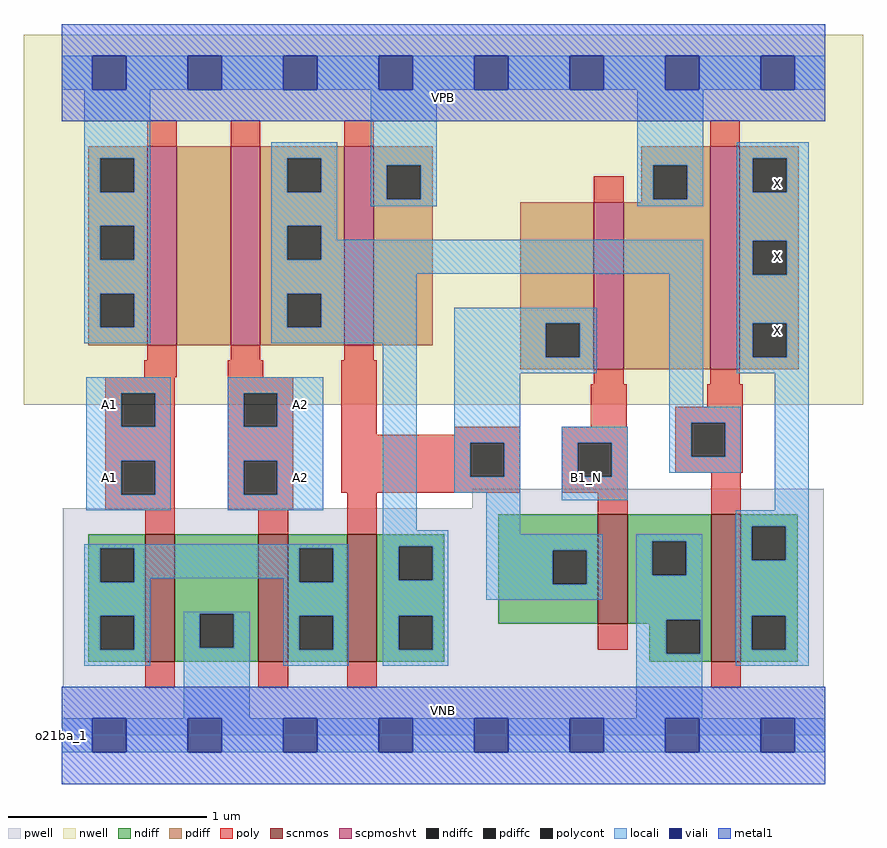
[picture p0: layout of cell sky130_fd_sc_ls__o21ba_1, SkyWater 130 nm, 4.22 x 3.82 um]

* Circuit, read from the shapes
.subckt sky130_fd_sc_ls__o21ba_1 A1 A2 B1_N VGND VNB VPB VPWR X
XM1 VGND A1 n1 VNB sky130_fd_pr__nfet_01v8 w=0.64 l=0.15
XM2 n1 A2 VGND VNB sky130_fd_pr__nfet_01v8 w=0.64 l=0.15
XM3 n2 n3 n1 VNB sky130_fd_pr__nfet_01v8 w=0.64 l=0.15
XM4 VGND B1_N n3 VNB sky130_fd_pr__nfet_01v8 w=0.55 l=0.15
XM5 X n2 VGND VNB sky130_fd_pr__nfet_01v8 w=0.74 l=0.15
XM6 n4 A1 VPWR VPB sky130_fd_pr__pfet_01v8_hvt w=1 l=0.15
XM7 n2 A2 n4 VPB sky130_fd_pr__pfet_01v8_hvt w=1 l=0.15
XM8 VPWR n3 n2 VPB sky130_fd_pr__pfet_01v8_hvt w=1 l=0.15
XM9 VPWR B1_N n3 VPB sky130_fd_pr__pfet_01v8_hvt w=0.84 l=0.15
XM10 X n2 VPWR VPB sky130_fd_pr__pfet_01v8_hvt w=1.12 l=0.15
.ends

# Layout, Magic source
magic
tech sky130A
magscale 1 2
<< nwell >>
rect -38 332 806 704
<< pwell >>
rect 413 228 766 248
rect 1 49 766 228
rect 0 0 768 49
<< scnmos >>
rect 84 74 114 202
rect 198 74 228 202
rect 287 74 317 202
rect 539 112 569 222
rect 653 74 683 222
<< scpmoshvt >>
rect 86 392 116 592
rect 170 392 200 592
rect 284 392 314 592
rect 535 368 565 536
rect 652 368 682 592
<< ndiff >>
rect 27 188 84 202
rect 27 154 39 188
rect 73 154 84 188
rect 27 120 84 154
rect 27 86 39 120
rect 73 86 84 120
rect 27 74 84 86
rect 114 122 198 202
rect 114 88 139 122
rect 173 88 198 122
rect 114 74 198 88
rect 228 188 287 202
rect 228 154 239 188
rect 273 154 287 188
rect 228 120 287 154
rect 228 86 239 120
rect 273 86 287 120
rect 228 74 287 86
rect 317 190 385 202
rect 317 156 339 190
rect 373 156 385 190
rect 317 120 385 156
rect 317 86 339 120
rect 373 86 385 120
rect 439 186 539 222
rect 439 152 494 186
rect 528 152 539 186
rect 439 112 539 152
rect 569 195 653 222
rect 569 161 594 195
rect 628 161 653 195
rect 569 116 653 161
rect 569 112 608 116
rect 317 74 385 86
rect 591 82 608 112
rect 642 82 653 116
rect 591 74 653 82
rect 683 210 740 222
rect 683 176 694 210
rect 728 176 740 210
rect 683 120 740 176
rect 683 86 694 120
rect 728 86 740 120
rect 683 74 740 86
<< pdiff >>
rect 27 580 86 592
rect 27 546 39 580
rect 73 546 86 580
rect 27 512 86 546
rect 27 478 39 512
rect 73 478 86 512
rect 27 444 86 478
rect 27 410 39 444
rect 73 410 86 444
rect 27 392 86 410
rect 116 392 170 592
rect 200 580 284 592
rect 200 546 227 580
rect 261 546 284 580
rect 200 512 284 546
rect 200 478 227 512
rect 261 478 284 512
rect 200 444 284 478
rect 200 410 227 444
rect 261 410 284 444
rect 200 392 284 410
rect 314 573 373 592
rect 314 539 327 573
rect 361 539 373 573
rect 583 573 652 592
rect 314 392 373 539
rect 583 539 595 573
rect 629 539 652 573
rect 583 536 652 539
rect 461 414 535 536
rect 461 380 487 414
rect 521 380 535 414
rect 461 368 535 380
rect 565 368 652 536
rect 682 580 741 592
rect 682 546 695 580
rect 729 546 741 580
rect 682 497 741 546
rect 682 463 695 497
rect 729 463 741 497
rect 682 414 741 463
rect 682 380 695 414
rect 729 380 741 414
rect 682 368 741 380
<< ndiffc >>
rect 39 154 73 188
rect 39 86 73 120
rect 139 88 173 122
rect 239 154 273 188
rect 239 86 273 120
rect 339 156 373 190
rect 339 86 373 120
rect 494 152 528 186
rect 594 161 628 195
rect 608 82 642 116
rect 694 176 728 210
rect 694 86 728 120
<< pdiffc >>
rect 39 546 73 580
rect 39 478 73 512
rect 39 410 73 444
rect 227 546 261 580
rect 227 478 261 512
rect 227 410 261 444
rect 327 539 361 573
rect 595 539 629 573
rect 487 380 521 414
rect 695 546 729 580
rect 695 463 729 497
rect 695 380 729 414
<< poly >>
rect 86 592 116 618
rect 170 592 200 618
rect 284 592 314 618
rect 652 592 682 618
rect 535 536 565 562
rect 86 377 116 392
rect 170 377 200 392
rect 284 377 314 392
rect 83 360 116 377
rect 167 360 203 377
rect 44 344 114 360
rect 44 310 60 344
rect 94 310 114 344
rect 44 276 114 310
rect 44 242 60 276
rect 94 242 114 276
rect 44 226 114 242
rect 167 344 233 360
rect 167 310 183 344
rect 217 310 233 344
rect 167 276 233 310
rect 167 242 183 276
rect 217 242 233 276
rect 281 302 317 377
rect 535 353 565 368
rect 652 353 682 368
rect 532 310 568 353
rect 649 330 685 353
rect 617 314 685 330
rect 395 302 461 310
rect 281 294 461 302
rect 281 260 411 294
rect 445 260 461 294
rect 281 244 461 260
rect 503 294 569 310
rect 503 260 519 294
rect 553 260 569 294
rect 617 280 633 314
rect 667 280 685 314
rect 617 264 685 280
rect 503 244 569 260
rect 167 226 233 242
rect 84 202 114 226
rect 198 202 228 226
rect 287 202 317 244
rect 539 222 569 244
rect 653 222 683 264
rect 539 86 569 112
rect 84 48 114 74
rect 198 48 228 74
rect 287 48 317 74
rect 653 48 683 74
<< polycont >>
rect 60 310 94 344
rect 60 242 94 276
rect 183 310 217 344
rect 183 242 217 276
rect 411 260 445 294
rect 519 260 553 294
rect 633 280 667 314
<< locali >>
rect 0 649 31 683
rect 65 649 127 683
rect 161 649 223 683
rect 257 649 319 683
rect 353 649 415 683
rect 449 649 511 683
rect 545 649 607 683
rect 641 649 703 683
rect 737 649 768 683
rect 23 580 89 649
rect 23 546 39 580
rect 73 546 89 580
rect 23 512 89 546
rect 23 478 39 512
rect 73 478 89 512
rect 23 444 89 478
rect 23 410 39 444
rect 73 410 89 444
rect 23 394 89 410
rect 211 580 277 596
rect 211 546 227 580
rect 261 546 277 580
rect 211 512 277 546
rect 311 573 377 649
rect 311 539 327 573
rect 361 539 377 573
rect 311 532 377 539
rect 579 573 645 649
rect 579 539 595 573
rect 629 539 645 573
rect 579 532 645 539
rect 679 580 751 596
rect 679 546 695 580
rect 729 546 751 580
rect 211 478 227 512
rect 261 498 277 512
rect 261 478 645 498
rect 211 464 645 478
rect 211 444 357 464
rect 211 410 227 444
rect 261 410 357 444
rect 211 394 357 410
rect 25 344 110 360
rect 25 310 60 344
rect 94 310 110 344
rect 25 276 110 310
rect 25 242 60 276
rect 94 242 110 276
rect 25 226 110 242
rect 167 344 263 360
rect 167 310 183 344
rect 217 310 263 344
rect 167 276 263 310
rect 167 242 183 276
rect 217 242 263 276
rect 167 226 263 242
rect 323 206 357 394
rect 395 414 538 430
rect 395 380 487 414
rect 521 380 538 414
rect 395 364 538 380
rect 395 294 461 364
rect 611 330 645 464
rect 679 497 751 546
rect 679 463 695 497
rect 729 463 751 497
rect 679 414 751 463
rect 679 380 695 414
rect 729 380 751 414
rect 679 364 751 380
rect 611 314 683 330
rect 395 260 411 294
rect 445 260 461 294
rect 395 244 461 260
rect 23 188 289 192
rect 23 154 39 188
rect 73 158 239 188
rect 73 154 89 158
rect 23 120 89 154
rect 223 154 239 158
rect 273 154 289 188
rect 23 86 39 120
rect 73 86 89 120
rect 23 70 89 86
rect 123 122 189 124
rect 123 88 139 122
rect 173 88 189 122
rect 123 17 189 88
rect 223 120 289 154
rect 223 86 239 120
rect 273 86 289 120
rect 223 70 289 86
rect 323 190 389 206
rect 323 156 339 190
rect 373 156 389 190
rect 323 120 389 156
rect 427 202 461 244
rect 503 294 569 310
rect 503 260 519 294
rect 553 260 569 294
rect 611 280 633 314
rect 667 280 683 314
rect 611 264 683 280
rect 503 236 569 260
rect 717 226 751 364
rect 678 210 751 226
rect 427 186 544 202
rect 427 152 494 186
rect 528 152 544 186
rect 427 136 544 152
rect 578 195 644 202
rect 578 161 594 195
rect 628 161 644 195
rect 323 86 339 120
rect 373 86 389 120
rect 323 70 389 86
rect 578 116 644 161
rect 578 82 608 116
rect 642 82 644 116
rect 578 17 644 82
rect 678 176 694 210
rect 728 176 751 210
rect 678 120 751 176
rect 678 86 694 120
rect 728 86 751 120
rect 678 70 751 86
rect 0 -17 31 17
rect 65 -17 127 17
rect 161 -17 223 17
rect 257 -17 319 17
rect 353 -17 415 17
rect 449 -17 511 17
rect 545 -17 607 17
rect 641 -17 703 17
rect 737 -17 768 17
<< viali >>
rect 31 649 65 683
rect 127 649 161 683
rect 223 649 257 683
rect 319 649 353 683
rect 415 649 449 683
rect 511 649 545 683
rect 607 649 641 683
rect 703 649 737 683
rect 31 -17 65 17
rect 127 -17 161 17
rect 223 -17 257 17
rect 319 -17 353 17
rect 415 -17 449 17
rect 511 -17 545 17
rect 607 -17 641 17
rect 703 -17 737 17
<< metal1 >>
rect 0 683 768 715
rect 0 649 31 683
rect 65 649 127 683
rect 161 649 223 683
rect 257 649 319 683
rect 353 649 415 683
rect 449 649 511 683
rect 545 649 607 683
rect 641 649 703 683
rect 737 649 768 683
rect 0 617 768 649
rect 0 17 768 49
rect 0 -17 31 17
rect 65 -17 127 17
rect 161 -17 223 17
rect 257 -17 319 17
rect 353 -17 415 17
rect 449 -17 511 17
rect 545 -17 607 17
rect 641 -17 703 17
rect 737 -17 768 17
rect 0 -49 768 -17
<< labels >>
rlabel comment s 0 0 0 0 4 o21ba_1
flabel pwell s 0 0 768 49 0 FreeSans 200 0 0 0 VNB
port 5 nsew ground bidirectional
flabel nwell s 0 617 768 666 0 FreeSans 200 0 0 0 VPB
port 6 nsew power bidirectional
flabel metal1 s 0 617 768 666 0 FreeSans 340 0 0 0 VPWR
port 7 nsew power bidirectional abutment
flabel metal1 s 0 0 768 49 0 FreeSans 340 0 0 0 VGND
port 4 nsew ground bidirectional abutment
flabel locali s 511 242 545 276 0 FreeSans 340 0 0 0 B1_N
port 3 nsew signal input
flabel locali s 223 242 257 276 0 FreeSans 340 0 0 0 A2
port 2 nsew signal input
flabel locali s 223 316 257 350 0 FreeSans 340 0 0 0 A2
port 2 nsew signal input
flabel locali s 31 242 65 276 0 FreeSans 340 0 0 0 A1
port 1 nsew signal input
flabel locali s 31 316 65 350 0 FreeSans 340 0 0 0 A1
port 1 nsew signal input
flabel locali s 703 390 737 424 0 FreeSans 340 0 0 0 X
port 8 nsew signal output
flabel locali s 703 464 737 498 0 FreeSans 340 0 0 0 X
port 8 nsew signal output
flabel locali s 703 538 737 572 0 FreeSans 340 0 0 0 X
port 8 nsew signal output
<< properties >>
string LEFsite unit
string LEFclass CORE
string FIXED_BBOX 0 0 768 666
string GDS_FILE $PDKPATH/libs.ref/sky130_fd_sc_ls/gds/sky130_fd_sc_ls.gds
string LEFsymmetry X Y
string GDS_END 3496698
string GDS_START 3489370
<< end >>
